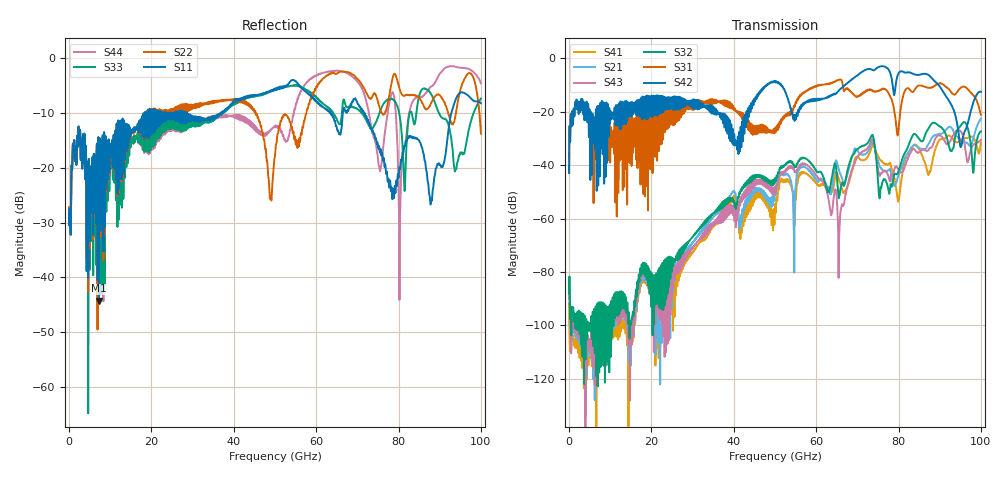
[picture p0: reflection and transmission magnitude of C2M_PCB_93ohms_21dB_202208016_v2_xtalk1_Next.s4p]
! Info: Touchstone file created by Circ.  Input file=Intel_C2M_200G_8p0in_202208016_staggered.circ
# Hz S RI R 50
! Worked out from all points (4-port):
!   10000 points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, 10 MHz to 100 GHz, reference 50 ohm
!   strongest paths, dB at 10 MHz, 25.01 GHz, 50.01 GHz, 75.01 GHz, 100 GHz:
!     S42: -42.9, -16.8, -8.6, -3.4, -12.5
!     S31: -43.0, -21.4, -26.5, -12.4, -21.1
!     S32: -88.0, -78.4, -44.9, -45.2, -27.4
!     S43: -89.0, -81.4, -48.6, -41.5, -30.5
!     S21: -89.3, -78.7, -49.3, -38.4, -22.5
!     S41: -91.5, -78.7, -54.8, -36.7, -31.5
!   lowest |S11| = -44.3 dB at 7.26 GHz (marker M1), VSWR 1.01, Z = 49.4 - j0.183 ohm
!   |S11| at or under -10 dB: start of sweep to 18.43 GHz; 28.66 GHz to 36.97 GHz (8.308 GHz wide, 25.3 % of centre); 71.58 GHz to 92.82 GHz (21.25 GHz wide, 25.8 % of centre)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
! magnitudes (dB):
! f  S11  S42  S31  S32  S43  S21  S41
! 10 MHz  -30.4  -42.9  -43.0  -88.0  -89.0  -89.3  -91.5
! 7.26 GHz  -44.3  -17.8  -20.6  -98.2  -100.1  -102.2  -104.0
! 40.71 GHz  -7.7  -31.9  -19.9  -54.3  -57.6  -53.2  -54.4
! 73.49 GHz  -13.2  -4.2  -12.1  -28.9  -30.6  -31.7  -33.2
! 76.1 GHz  -17.7  -3.0  -11.5  -46.4  -42.7  -41.9  -38.9
! 95.19 GHz  -6.2  -33.1  -10.9  -25.1  -27.5  -31.0  -30.2
! 100 GHz  -8.2  -12.5  -21.1  -27.4  -30.5  -22.5  -31.5
